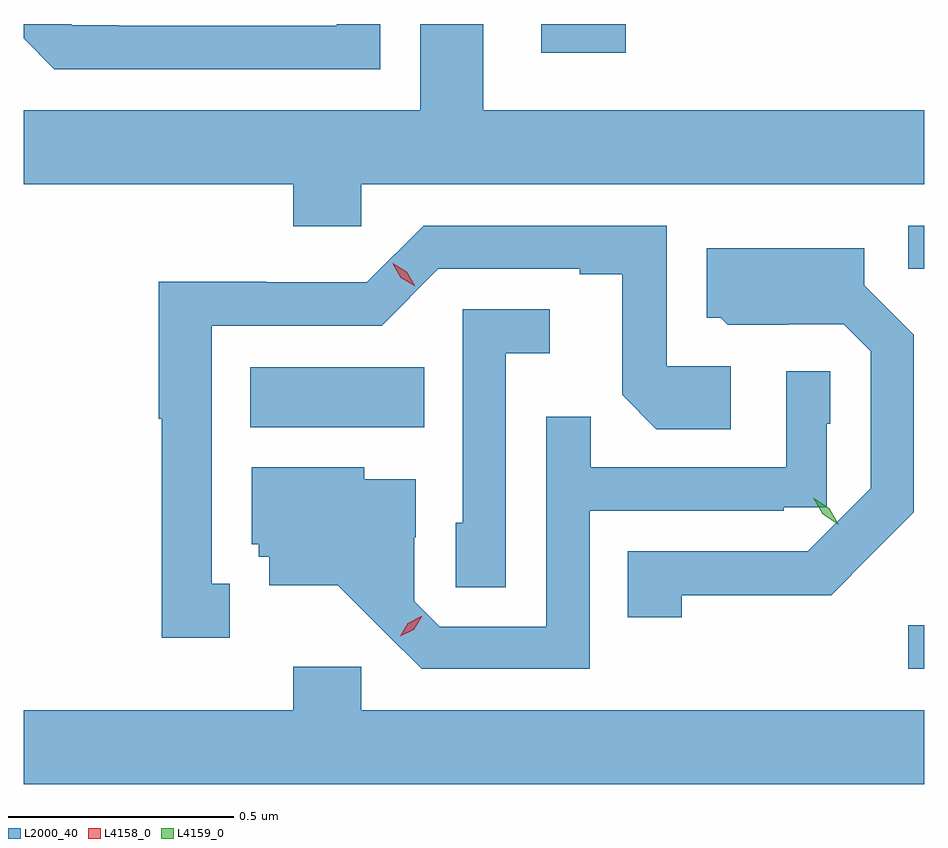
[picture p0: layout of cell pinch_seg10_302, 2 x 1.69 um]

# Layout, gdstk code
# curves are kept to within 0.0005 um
import gdstk
lib = gdstk.Library(unit=1e-6, precision=1e-09)
def R(c, l, rs):  # rectangles x0, y0, x1, y1
    for r in rs: c.add(gdstk.rectangle(r[:2], r[2:], *l))
def P(c, l, *ps):  # polygons
    for p in ps: c.add(gdstk.Polygon(p, *l))
L2000_40 = (2000, 40)
L4158_0 = (4158, 0)
L4159_0 = (4159, 0)

pinch_seg10_302 = lib.new_cell('pinch_seg10_302')
R(pinch_seg10_302, L2000_40, [(498.693,1308.564,498.728,1308.661), (497.231,1309.1,497.618,1309.234), (498.693,1309.452,498.728,1309.548), (497.877,1309.932,498.065,1309.996)])
P(pinch_seg10_302, L2000_40, [(497.478,1309.64),(498.728,1309.64),(498.728,1309.804),(497.749,1309.804),(497.749,1309.996),(497.609,1309.996),(497.609,1309.804),(496.728,1309.804),(496.728,1309.64),(497.327,1309.64),(497.327,1309.547),(497.478,1309.547)],
  [(497.52,1309.996),(497.423,1309.996),(497.423,1309.992),(496.939,1309.992),(496.939,1309.993),(496.836,1309.993),(496.833,1309.996),(496.728,1309.996),(496.728,1309.964),(496.796,1309.896),(497.52,1309.896)],
  [(497.185,1308.753),(497.146,1308.753),(497.146,1309.326),(497.523,1309.326),(497.649,1309.452),(497.963,1309.452),(497.963,1309.44),(498.057,1309.44),(498.057,1309.172),(498.133,1309.096),(498.298,1309.096),(498.298,1309.236),(498.156,1309.236),(498.156,1309.548),(497.616,1309.548),(497.49,1309.422),(497.268,1309.422),(497.268,1309.424),(497.028,1309.424),(497.028,1309.119),(497.035,1309.119),(497.035,1308.633),(497.185,1308.633)],
  [(498.189,1308.727),(498.521,1308.727),(498.705,1308.912),(498.705,1309.306),(498.595,1309.416),(498.595,1309.498),(498.245,1309.498),(498.245,1309.344),(498.276,1309.344),(498.292,1309.328),(498.426,1309.328),(498.426,1309.329),(498.549,1309.329),(498.609,1309.269),(498.609,1308.965),(498.469,1308.825),(498.07,1308.825),(498.07,1308.678),(498.189,1308.678)],
  [(497.799,1309.265),(497.896,1309.265),(497.896,1309.362),(497.703,1309.362),(497.703,1308.888),(497.688,1308.888),(497.688,1308.745),(497.799,1308.745)],
  [(497.985,1308.915),(498.416,1308.915),(498.416,1308.923),(498.512,1308.923),(498.512,1309.108),(498.519,1309.108),(498.519,1309.225),(498.422,1309.225),(498.422,1309.011),(497.987,1309.011),(497.987,1309.124),(497.889,1309.124),(497.889,1308.657),(497.652,1308.657),(497.595,1308.714),(497.595,1308.856),(497.599,1308.856),(497.599,1308.985),(497.484,1308.985),(497.484,1309.012),(497.234,1309.012),(497.234,1308.84),(497.25,1308.84),(497.25,1308.813),(497.273,1308.813),(497.273,1308.749),(497.425,1308.749),(497.612,1308.564),(497.985,1308.564)],
  [(498.728,1308.472),(497.478,1308.472),(497.478,1308.568),(497.327,1308.568),(497.327,1308.472),(496.728,1308.472),(496.728,1308.308),(498.728,1308.308)])
P(pinch_seg10_302, L4158_0, [(497.564,1308.636),(497.564,1308.636),(497.581,1308.665),(497.611,1308.681),(497.612,1308.681),(497.612,1308.68),(497.594,1308.651),(497.564,1308.636)],
  [(497.597,1309.413),(497.565,1309.432),(497.547,1309.464),(497.547,1309.465),(497.548,1309.465),(497.579,1309.446),(497.597,1309.413),(497.597,1309.413)])
P(pinch_seg10_302, L4159_0, [(498.538,1308.884),(498.503,1308.907),(498.482,1308.944),(498.482,1308.944),(498.482,1308.944),(498.517,1308.921),(498.538,1308.884),(498.538,1308.884)])

lib.write_gds('pinch_seg10_302.gds')
